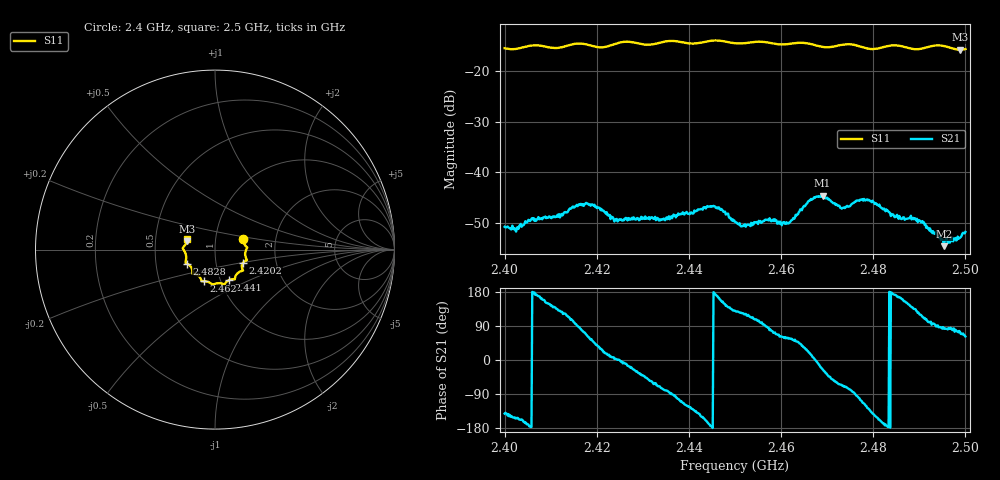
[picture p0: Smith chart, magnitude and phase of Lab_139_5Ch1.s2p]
# Hz S RI R 50
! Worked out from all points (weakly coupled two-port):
!   601 points, 2.4 GHz to 2.5 GHz, reference 50 ohm
!   highest |S21| = -44.58 dB at 2.469 GHz (marker M1); lowest = -54.6 dB at 2.4953 GHz (marker M2)
!   lowest |S11| = -15.8 dB at 2.4988 GHz (marker M3), VSWR 1.39, Z = 36.3 + j3.41 ohm
!   |S11| at or under -10 dB: start of sweep to end of sweep
!   S12 and S22 are empty: the file has one direction only
!   S11 on the Smith chart (normalised r, x): 2.4 GHz: 1.36, +0.17; 2.4202 GHz: 1.35, -0.20; 2.441 GHz: 1.10, -0.39; 2.462 GHz: 0.83, -0.30; 2.4828 GHz: 0.72, -0.12; 2.5 GHz: 0.73, +0.09
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2.4e9  0.1572 0.0608  -0.00226 -0.00181  0 0  0 0
2.4025e9  0.163 0.0316  -0.00231 -0.00119  0 0  0 0
2.416667e9  0.1775 -0.0591  0.000891 0.00477  0 0  0 0
2.420167e9  0.1569 -0.0721  0.0036 0.00275  0 0  0 0
2.424167e9  0.1526 -0.1084  0.00338 0.000158  0 0  0 0
2.433333e9  0.1128 -0.1519  0.00122 -0.00327  0 0  0 0
2.441e9  0.0774 -0.1705  -0.00264 -0.00292  0 0  0 0
2.445167e9  0.0531 -0.1933  -0.00461 -3.87e-05  0 0  0 0
2.45e9  0.027 -0.1869  -0.00207 0.0025  0 0  0 0
2.451833e9  0.00895 -0.1883  -0.00163 0.00251  0 0  0 0
2.457e9  -0.0193 -0.1913  0.000181 0.00338  0 0  0 0
2.462e9  -0.0612 -0.1761  0.00177 0.00271  0 0  0 0
2.466667e9  -0.0773 -0.1674  0.00525 0.00109  0 0  0 0
2.469e9  -0.0879 -0.1497  0.00537 -0.00244  0 0  0 0
2.473333e9  -0.1221 -0.1356  0.00164 -0.00413  0 0  0 0
2.4785e9  -0.1282 -0.1092  -0.00278 -0.00459  0 0  0 0
2.482833e9  -0.1577 -0.0779  -0.00427 -0.000523  0 0  0 0
2.483333e9  -0.1606 -0.0765  -0.00406 -0.000234  0 0  0 0
2.4905e9  -0.1658 -0.0172  -0.00145 0.00285  0 0  0 0
2.495333e9  -0.1766 0.0134  0.000228 0.00185  0 0  0 0
2.498833e9  -0.1564 0.0457  0.000623 0.00217  0 0  0 0
2.5e9  -0.1533 0.0618  0.00121 0.00228  0 0  0 0
